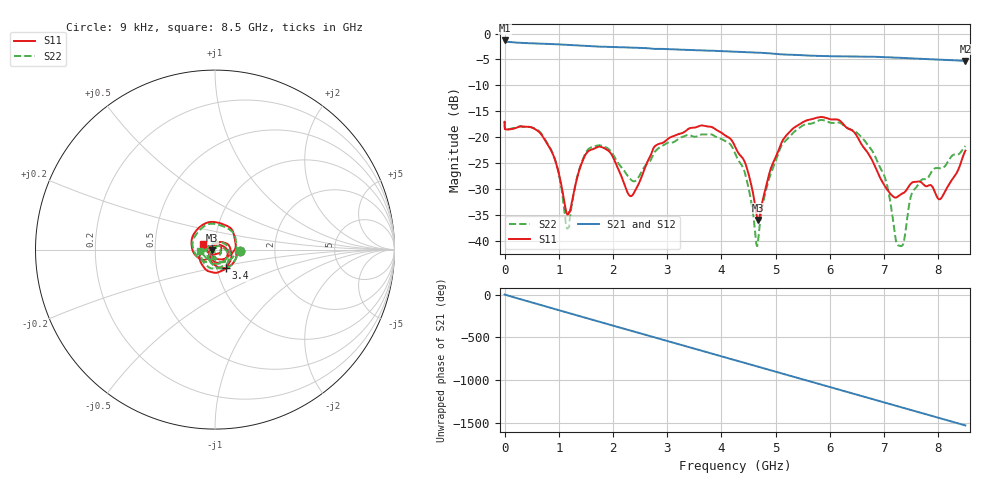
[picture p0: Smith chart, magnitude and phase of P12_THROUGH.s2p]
! LibreCAL 5mOUNstcbC0A set FACTORY P12_THROUGH (ports ordered 1,2)
# GHz S RI R 50
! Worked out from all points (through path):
!   1202 points, 9 kHz to 8.5 GHz, reference 50 ohm
!   highest |S21| = -1.33 dB at 10 kHz (marker M1); lowest = -5.3 dB at 8.5 GHz (marker M2)
!   group delay of S21, straight-line fit = 500 ps
!   lowest |S11| = -36.0 dB at 4.68 GHz (marker M3), VSWR 1.03, Z = 48.5 - j0.469 ohm
!   |S11| at or under -10 dB: start of sweep to end of sweep
!   |S22| runs from -41.1 to -16.7 dB; largest |S21 - S12| = 0.0028
!   S11 on the Smith chart (normalised r, x): 9 kHz: 1.33, -0.01; 3.4 GHz: 1.11, -0.23; 8.5 GHz: 0.87, +0.05
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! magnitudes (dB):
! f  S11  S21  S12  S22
! 9 kHz  -17.0  -1.3  -1.3  -17.0
! 10 kHz  -17.0  -1.3  -1.3  -17.0
! 740 MHz  -20.5  -2.0  -2.0  -20.3
! 960 MHz  -25.4  -2.1  -2.1  -25.4
! 1.16 GHz  -35.0  -2.2  -2.2  -37.7
! 1.42 GHz  -25.1  -2.3  -2.3  -24.9
! 1.87 GHz  -22.3  -2.6  -2.6  -22.0
! 2.34 GHz  -31.4  -2.7  -2.7  -28.3
! 2.84 GHz  -21.3  -2.9  -2.9  -22.1
! 3.4 GHz  -18.3  -3.2  -3.2  -19.6
! 4.26 GHz  -22.0  -3.5  -3.5  -23.3
! 4.44 GHz  -25.1  -3.6  -3.6  -27.2
! 4.68 GHz  -36.0  -3.7  -3.7  -39.7
! 4.85 GHz  -28.4  -3.8  -3.8  -29.1
! 5.1 GHz  -21.3  -4.0  -4.0  -21.8
! 5.67 GHz  -16.5  -4.3  -4.3  -17.4
! 6.54 GHz  -20.6  -4.4  -4.4  -19.5
! 7.09 GHz  -30.6  -4.6  -4.6  -31.0
! 7.31 GHz  -31.1  -4.7  -4.7  -41.1
! 7.57 GHz  -28.7  -4.8  -4.8  -30.0
! 8.04 GHz  -31.9  -5.0  -5.0  -26.0
! 8.5 GHz  -22.6  -5.3  -5.3  -21.7
